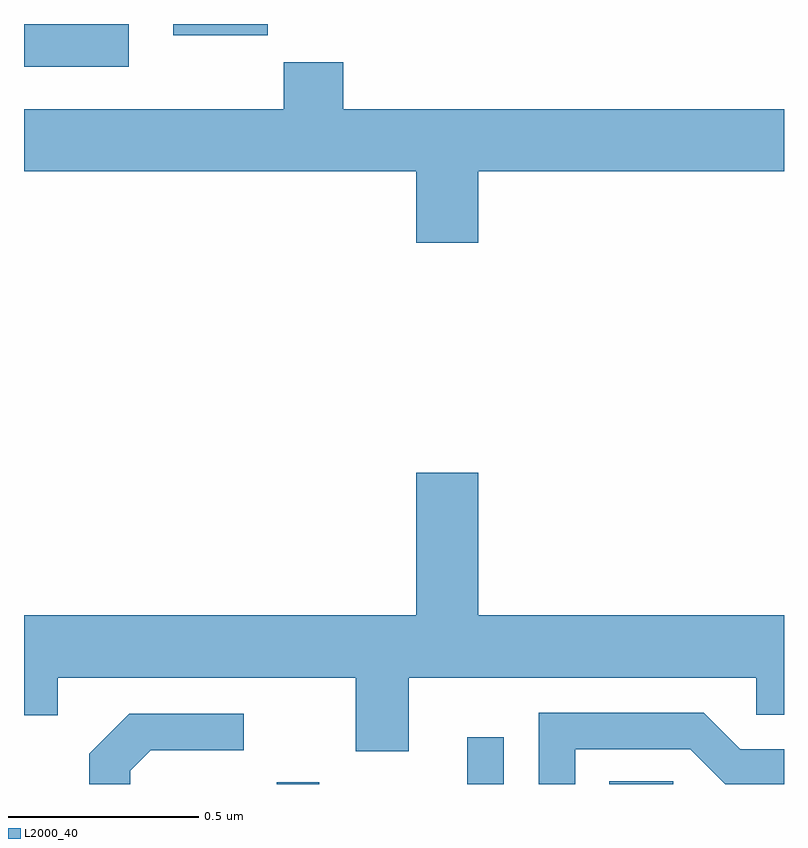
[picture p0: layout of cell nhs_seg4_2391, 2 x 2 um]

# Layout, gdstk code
import gdstk
lib = gdstk.Library(unit=1e-6, precision=1e-09)
def R(c, l, rs):  # rectangles x0, y0, x1, y1
    for r in rs: c.add(gdstk.rectangle(r[:2], r[2:], *l))
def P(c, l, *ps):  # polygons
    for p in ps: c.add(gdstk.Polygon(p, *l))
L2000_40 = (2000, 40)

nhs_seg4_2391 = lib.new_cell('nhs_seg4_2391')
R(nhs_seg4_2391, L2000_40, [(140.665,769.9,140.777,769.904), (141.167,769.9,141.263,770.023), (141.54,769.9,141.709,769.907), (140,771.788,140.275,771.9), (140.393,771.87,140.642,771.9)])
P(nhs_seg4_2391, L2000_40, [(141.196,771.512),(142,771.512),(142,771.676),(140.84,771.676),(140.84,771.8),(140.683,771.8),(140.683,771.676),(140,771.676),(140,771.512),(141.032,771.512),(141.032,771.324),(141.196,771.324)],
  [(141.013,770.18),(141.927,770.18),(141.927,770.082),(142,770.082),(142,770.344),(141.196,770.344),(141.196,770.719),(141.032,770.719),(141.032,770.344),(140,770.344),(140,770.081),(140.089,770.081),(140.089,770.18),(140.873,770.18),(140.873,769.986),(141.013,769.986)],
  [(141.45,769.992),(141.753,769.992),(141.845,769.9),(142,769.9),(142,769.992),(141.885,769.992),(141.789,770.088),(141.354,770.088),(141.354,769.9),(141.45,769.9)],
  [(140.28,769.935),(140.334,769.989),(140.578,769.989),(140.578,770.085),(140.277,770.085),(140.172,769.979),(140.172,769.9),(140.28,769.9)])

lib.write_gds('nhs_seg4_2391.gds')
